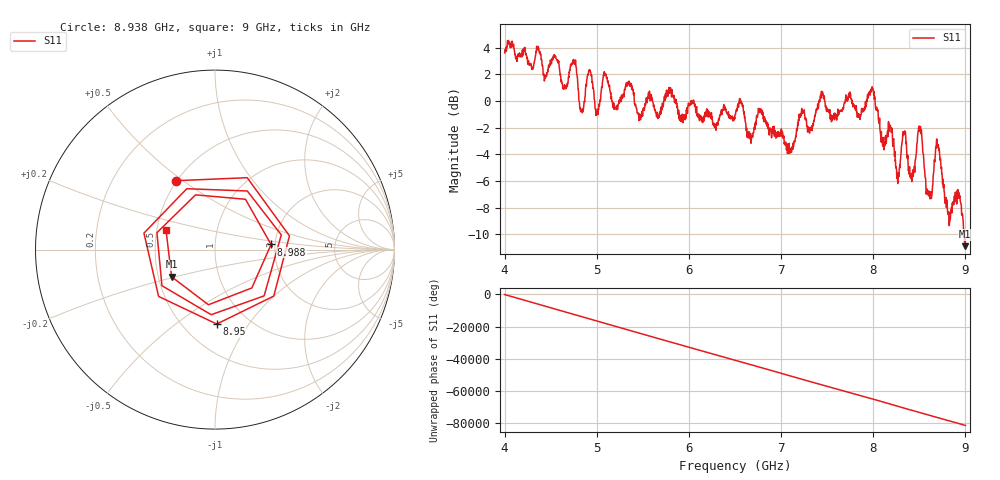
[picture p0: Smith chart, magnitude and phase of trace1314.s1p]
! Created with skrf 1.8.0 (http://scikit-rf.org).
# Hz S RI R 50.0
!freq ReS11 ImS11
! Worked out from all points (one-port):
!   1601 points, 4 GHz to 9 GHz, reference 50 ohm
!   lowest |S11| = -10.9 dB at 8.997 GHz (marker M1), VSWR 1.80, Z = 29.4 - j9.68 ohm
!   |S11| at or under -10 dB: 8.98725 GHz to end of sweep
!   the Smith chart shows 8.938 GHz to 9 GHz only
!   S11 on the Smith chart (normalised r, x): 8.938 GHz: 0.49, +0.47; 8.95 GHz: 0.72, -0.72; 8.988 GHz: 1.90, +0.12; 9 GHz: 0.56, +0.14
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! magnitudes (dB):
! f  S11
! 4 GHz  3.6
! 4.55 GHz  3.3
! 4.625 GHz  1.3
! 4.747 GHz  3.1
! 4.834 GHz  -0.7
! 4.919 GHz  2.4
! 5.003 GHz  -1.0
! 5.088 GHz  2.1
! 5.25 GHz  0.0
! 5.875 GHz  -0.4
! 6.5 GHz  -1.0
! 7.125 GHz  -3.5
! 7.434 GHz  0.2
! 7.75 GHz  0.3
! 7.984 GHz  0.8
! 8.262 GHz  -5.4
! 8.331 GHz  -2.4
! 8.375 GHz  -4.1
! 8.425 GHz  -5.7
! 8.506 GHz  -1.9
! 8.597 GHz  -7.1
! 8.697 GHz  -3.3
! 8.812 GHz  -8.4
! 8.938 GHz  -7.1
! 8.95 GHz  -7.6
! 8.988 GHz  -10.1
! 8.997 GHz  -10.9
! 9 GHz  -10.6
